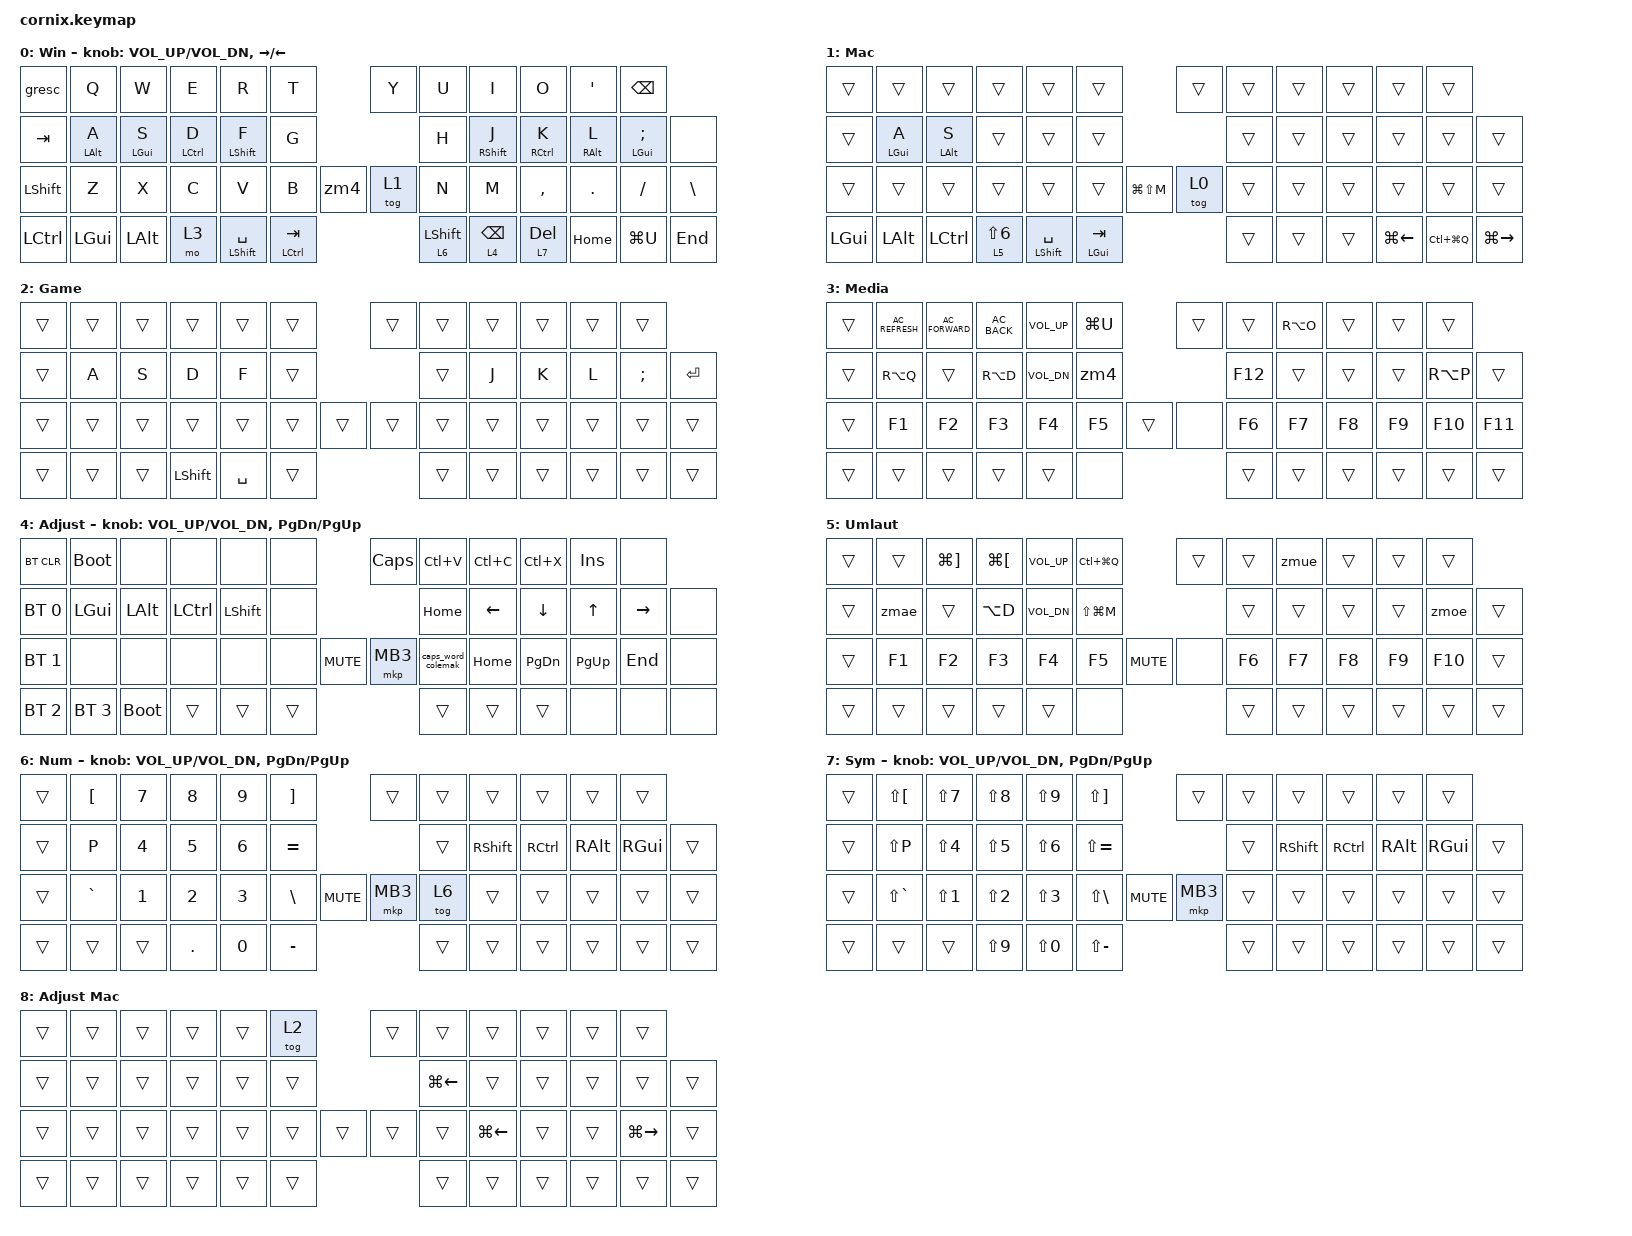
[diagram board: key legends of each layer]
/*
 * Copyright (c) 2020 The ZMK Contributors
 *
 * SPDX-License-Identifier: MIT
 */

#include "zmk-helpers/helper.h"
#include "includes/cornix54.h"
#include <behaviors.dtsi>
#include <dt-bindings/zmk/bt.h>
#include <dt-bindings/zmk/keys.h>

// tap windows for ctl alt and gui

#define HM_TAPPING_TERM 280
#define HM_TAPPING_REPEAT 210

// require-prior-idle-ms is what actually resolves most taps instantly (a
// tap right after typing normally is assumed to be a tap, not a hold) --
// per urob's own formula (require-prior-idle-ms >= 10500/WPM), 70ms only
// covers >150 WPM. 150ms covers up to ~70 WPM; raise further if still slow.
#define HM_PRIOR_IDLE 150

// Shift gets its own, much lower prior-idle: German capitalizes nouns
// mid-sentence (roughly 1 word in 4-5), so a Space->Shift press is common
// and normal, not a rushed edge case -- at 150ms that pattern kept getting
// forced to a tap (the space itself counts as "prior activity"), which
// read as "shift doesn't register, the letter fires instead". Ctrl/Alt/Gui
// don't have this problem (their holds usually follow a pause) so they
// stay on the shared HM_PRIOR_IDLE above.
#define HM_SHIFT_PRIOR_IDLE 50
#define BASE 0
#define WIN 1
#define LOWER 2
#define RAISE 3
#define ADJUST 4
#define NAVI   5
#define NUM    6
#define DEBUG  7

// https://github.com/urob/zmk-config/tree/main#timeless-homerow-mods

// Includes the LH3/RH3 "extra" bottom-row keys, the plain left-thumb
// Ctrl/Gui/Alt (positions 38-39 have no named alias, LP0=40 does), and the
// plain right-thumb Home/LG(U)/End (47-48 unaliased, RP0=49) -- chords
// involving any of these used to always resolve as a tap regardless of
// timing, since only listed positions can confirm a hold via the opposite
// hand/thumb.
#define KEYS_L LT0 LT1 LT2 LT3 LT4 LT5 LM0 LM1 LM2 LM3 LM4 LM5 LB0 LB1 LB2 LB3 LB4 LB5 LH3 38 39 LP0  // left hand
#define KEYS_R RT0 RT1 RT2 RT3 RT4 RT5 RM0 RM1 RM2 RM3 RM4 RM5 RB0 RB1 RB2 RB3 RB4 RB5 RH3 47 48 RP0  // right hand
#define THUMBS LH1 LH0 RH0 RH1
#define KEYS_T LH2 LH1 LH0 RH0 RH1 RH2
#define ZMK_POINTING_DEFAULT_SCRL_VAL 15

#include <behaviors.dtsi>
#include <dt-bindings/zmk/bt.h>
#include <dt-bindings/zmk/ext_power.h>
#include <dt-bindings/zmk/keys.h>
#include <dt-bindings/zmk/pointing.h>

/ {
    // Activate ADJUST layer by pressing raise and lower

    behaviors {
        hm_l: homerow_mods_left {
            compatible = "zmk,behavior-hold-tap";
            #binding-cells = <2>;
            bindings = <&kp>, <&kp>;

            flavor = "balanced";
            tapping-term-ms = <HM_TAPPING_TERM>;
            quick-tap-ms = <175>;                // repeat on tap-into-hold
            require-prior-idle-ms = <HM_PRIOR_IDLE>;
            hold-trigger-key-positions = <KEYS_R KEYS_T>;
            hold-trigger-on-release;
        };

        hm_r: homerow_mods_right {
            compatible = "zmk,behavior-hold-tap";
            #binding-cells = <2>;
            bindings = <&kp>, <&kp>;

            flavor = "balanced";
            tapping-term-ms = <HM_TAPPING_TERM>;
            quick-tap-ms = <175>;
            require-prior-idle-ms = <HM_PRIOR_IDLE>;
            hold-trigger-key-positions = <KEYS_L KEYS_T>;
            hold-trigger-on-release;
        };

        // Positional Homerow mods for shift.
        // (previously used a shorter "fast" tapping term than hm_l/hm_r; a
        // *shorter* term only makes shift misfire as a hold more often and
        // doesn't reduce tap latency -- require-prior-idle-ms is what does
        // that -- so this shares the same term as hm_l/hm_r. It does NOT
        // share their require-prior-idle-ms though -- see HM_SHIFT_PRIOR_IDLE
        // above for why Shift needs its own, much lower value.)

        hm_shift_l: hm_shift_l {
            compatible = "zmk,behavior-hold-tap";
            #binding-cells = <2>;
            bindings = <&kp>, <&kp>;

            flavor = "balanced";
            tapping-term-ms = <HM_TAPPING_TERM>;
            quick-tap-ms = <175>;
            require-prior-idle-ms = <HM_SHIFT_PRIOR_IDLE>;
            hold-trigger-key-positions = <KEYS_R KEYS_T>;
            hold-trigger-on-release;
        };

        hm_shift_r: hm_shift_r {
            compatible = "zmk,behavior-hold-tap";
            #binding-cells = <2>;
            bindings = <&kp>, <&kp>;

            flavor = "balanced";
            tapping-term-ms = <HM_TAPPING_TERM>;
            quick-tap-ms = <175>;
            require-prior-idle-ms = <HM_SHIFT_PRIOR_IDLE>;
            hold-trigger-key-positions = <KEYS_L KEYS_T>;

            // for quick tapping; shift+~

            hold-trigger-on-release;
        };

        /*
         * Non-Positional Homerow Mods
         * Used for &mm_grescm_gui behavior on left hand.
         *
         * Usage: &hm LSHFT T
         * Tap: T
         * Tap-Tap-Hold: Repeat T
         * Hold: LSHIFT
         */

        hm: homerow_mods {
            compatible = "zmk,behavior-hold-tap";
            #binding-cells = <2>;
            bindings = <&kp>, <&kp>;

            flavor = "balanced";
            tapping-term-ms = <HM_TAPPING_TERM>;
            quick-tap-ms = <175>;
            // this wraps SPACE/TAB on the thumb keys, so a missing
            // require-prior-idle-ms meant every space/tab was withheld
            // until release -- add it so fast typing resolves instantly.
            require-prior-idle-ms = <HM_PRIOR_IDLE>;
        };

        // Thumb Shift on the Space key (position 42, tap = Space). To
        // capitalize after a space the same key is tapped and then held
        // again right away, so:
        // - no require-prior-idle-ms: the hold comes right after the Space
        //   tap and would otherwise be forced to a tap (a second space);
        // - no quick-tap-ms: same reason, tap-then-hold must give Shift,
        //   not an auto-repeating Space;
        // - balanced, not hold-preferred: Space is rolled into the next
        //   word's first letter all the time (letter pressed before Space
        //   is released). hold-preferred would capitalize every such roll;
        //   balanced only gives Shift when the letter is released while
        //   Space is still held.
        thumb_shift: thumb_shift {
            compatible = "zmk,behavior-hold-tap";
            #binding-cells = <2>;
            bindings = <&kp>, <&kp>;

            flavor = "balanced";
            tapping-term-ms = <HM_TAPPING_TERM>;
        };

        lt: layer_tap {
            compatible = "zmk,behavior-hold-tap";
            #binding-cells = <2>;
            bindings = <&mo>, <&kp>;

            flavor = "hold-preferred";
            tapping-term-ms = <HM_TAPPING_TERM>;
            quick-tap-ms = <200>;
        };

        // Caps word for the Colemak OS layout (Mac and Windows): Colemak "o"
        // sits on HID SEMI and ";" on HID P, so stock &caps_word ended on "o"
        // and turned ";" into ":". Custom behavior from this module, see
        // src/behaviors/behavior_caps_word_ext.c.
        caps_word_colemak: caps_word_colemak {
            compatible = "zmk,behavior-caps-word-ext";
            #binding-cells = <0>;
            continue-list = <UNDERSCORE BACKSPACE DELETE>;
            shift-list = <SEMI>;
            break-list = <P>;
            // no Shift added while Ctrl/Alt/Gui are active: shortcuts stay
            // unshifted, and the Mac umlaut macros' Option+I dead key isn't
            // turned into Option+Shift+I (the vowel after it still is).
            // RALT deliberately left out: on Windows it's AltGr, and the
            // Media-layer umlauts RA(Q)/RA(P)/RA(O) need AltGr+Shift for
            // Ä/Ö/Ü. (break-list P only matches a plain P, not RA(P).)
            no-shift-mods = <(MOD_LCTL|MOD_RCTL|MOD_LALT|MOD_LGUI|MOD_RGUI)>;
            display-name = "Caps Word";
        };

        // Grave/Escape: tap for Escape, tap with Shift/Gui held for `~
        gresc: grave_escape {
            compatible = "zmk,behavior-mod-morph";
            #binding-cells = <0>;
            bindings = <&kp ESC>, <&kp GRAVE>;
            mods = <(MOD_LGUI|MOD_RGUI|MOD_LSFT|MOD_RSFT)>;
        };

        // macOS Colemak umlauts: tap for lowercase, tap with Shift held for
        // the capital. mod-morph masks the real (explicit) Shift before
        // invoking the morph branch, so the Option+<dead-key> step below
        // fires unshifted; Shift for the capital is then reapplied only to
        // the final letter as an *implicit* modifier via LS(), which the
        // masking does not touch. See zmuml below for the actual sequence.
        zmae: zm_ae {
            compatible = "zmk,behavior-mod-morph";
            #binding-cells = <0>;
            bindings = <&zmuml A>, <&zmuml LS(A)>;
            mods = <(MOD_LSFT|MOD_RSFT)>;
        };

        zmoe: zm_oe {
            compatible = "zmk,behavior-mod-morph";
            #binding-cells = <0>;
            bindings = <&zmuml SEMI>, <&zmuml LS(SEMI)>;
            mods = <(MOD_LSFT|MOD_RSFT)>;
        };

        zmue: zm_ue {
            compatible = "zmk,behavior-mod-morph";
            #binding-cells = <0>;
            bindings = <&zmuml I>, <&zmuml LS(I)>;
            mods = <(MOD_LSFT|MOD_RSFT)>;
        };
    };

    macros {
        // Option+I is macOS's diaeresis dead key *as remapped by the
        // Colemak input source* (HID I is where Colemak's "u" sits, and
        // macOS's Option-layer follows the remapped letters). Tapping a
        // vowel afterwards composes ae/oe/ue; the parameter carries which
        // vowel keycode to tap (plain for lowercase, LS(x) for capital,
        // via zmae/zmoe/zmue above).
        zmuml: zmuml {
            compatible = "zmk,behavior-macro-one-param";
            #binding-cells = <1>;
            bindings
                = <&macro_press &kp LALT>
                , <&macro_tap &kp I>
                , <&macro_release &kp LALT>
                , <&macro_param_1to1>
                , <&macro_tap &kp MACRO_PLACEHOLDER>
                ;
        };

        // ported from miryoku.vil macro M4 (M0-M3 dropped: M0 was only used by
        // now-dropped tap-dances; M1-M3 were the same Option+I umlaut pattern,
        // replaced above by zmae/zmoe/zmue so Shift produces capitals too)
        zm4: zm4 {
            compatible = "zmk,behavior-macro";
            #binding-cells = <0>;
            bindings
                = <&macro_press &kp LGUI>
                , <&macro_press &kp LALT>
                , <&macro_tap &kp N>
                , <&macro_release &kp LGUI>
                , <&macro_release &kp LALT>
                ;
        };
    };

    conditional_layers {
        compatible = "zmk,conditional-layers";

        // Adjust (layer 4) is reached identically from Base (Windows) and
        // win_layer (macOS mode), so it can't know which OS it's for. When
        // win_layer + Adjust are both active, additionally activate
        // mac_adjust_layer on top: it overrides only Home/End with the
        // macOS-correct Cmd+Left/Right (raw Home/End scroll the viewport on
        // macOS instead of moving the cursor) and is &trans everywhere else,
        // falling through to Adjust's shared bindings.
        mac_adjust {
            if-layers = <1 4>;
            then-layer = <8>;
        };
    };

    combos {
        compatible = "zmk,combos";

        cb_we {
            bindings = <&kp ESC>;
            key-positions = <2 3>;
            layers = <0 1>;
            timeout-ms = <75>;
        };

        cb_pg {
            bindings = <&kp ENTER>;
            key-positions = <4 5>;
            layers = <0 1>;
            timeout-ms = <75>;
        };

        cb_mcomma {
            bindings = <&kp ENTER>;
            key-positions = <33 34>;
            layers = <0 1>;
            timeout-ms = <75>;
        };
    };

    keymap {
        compatible = "zmk,keymap";

        // The following 8 layers are a direct port of miryoku.vil (Vial/QMK keymap for
        // this board). Vial's original 10-layer keymap is reduced to 8: the last two
        // layers (indices 8/9) were dropped per request, and their only entry points
        // (TG(8), MO(9)) become &none. QMK tap-dances are reduced to their native
        // ZMK-compatible tap+hold behavior; double-tap / double-tap-hold actions are
        // not reproduced (ZMK has no built-in equivalent). USER00/USER01/USER02/
        // USER05/USER06 (custom QMK user keycodes) have no recoverable definition in
        // the .vil file; they are best-effort-mapped to Bluetooth profile selection
        // based on their position (far-left column of the Adjust layer, matching the
        // BT_SEL pattern used elsewhere) -- verify against the original QMK
        // process_record_user() if available.

        default_layer {
            display-name = "Win";

            bindings = <
&gresc     &kp Q         &kp W         &kp E          &kp R                &kp T          &kp Y      &kp U          &kp I          &kp O         &kp SQT               &kp BSPC
&kp TAB    &hm_l LALT A  &hm_l LGUI S  &hm_l LCTRL D  &hm_shift_l LSHFT F  &kp G          &kp H      &hm_shift_r RSHFT J  &hm_r RCTRL K  &hm_r RALT L  &hm_r LGUI SEMI       &none
&kp LSHFT  &kp Z         &kp X         &kp C          &kp V                &kp B  &zm4    &tog 1     &kp N      &kp M          &kp COMMA      &kp DOT       &kp FSLH              &kp BSLH
&kp LCTRL  &kp LGUI      &kp LALT      &mo 3          &thumb_shift LSHFT SPACE  &hm LCTRL TAB  &lt 6 LSHFT  &lt 4 BSPC  &lt 7 DELETE  &kp HOME      &kp LG(U)             &kp END
            >;
            sensor-bindings = <&inc_dec_kp C_VOL_UP C_VOL_DN &inc_dec_kp RIGHT LEFT>;
        };

        win_layer {
            display-name = "Mac";

            bindings = <
&trans     &trans        &trans    &trans        &trans           &trans        &trans  &trans  &trans        &trans         &trans         &trans
&trans     &hm_l LGUI A  &hm_l LALT S  &trans    &trans           &trans        &trans  &trans  &trans        &trans         &trans         &trans
&trans     &trans        &trans    &trans        &trans           &trans  &kp LG(LS(M))  &tog 0  &trans        &trans         &trans        &trans  &trans  &trans
&kp LGUI   &kp LALT      &kp LCTRL &lt 5 LS(N6)  &thumb_shift LSHFT SPACE  &hm LGUI TAB  &trans  &trans  &trans        &kp LG(LEFT)  &kp LC(LG(Q))  &kp LG(RIGHT)
            >;
        };

        game_layer {
            // macOS-only gaming mode, toggled with Adjust + Colemak G (see
            // mac_adjust_layer). Sits directly above win_layer so every layer
            // reached by holding a thumb key (Media/Adjust/Umlaut/Num/Sym)
            // still overrides it. Home row without home-row mods, plain
            // Shift/Space on the thumbs (hold-taps there delay a tap until
            // release -- e.g. jump only on Space release), Enter on the outer
            // home-row key since the Enter combos are inactive here (combos
            // only fire when the *highest* active layer is in their list).
            display-name = "Game";

            bindings = <
&trans     &trans  &trans  &trans  &trans  &trans          &trans  &trans  &trans  &trans  &trans     &trans
&trans     &kp A   &kp S   &kp D   &kp F   &trans          &trans  &kp J   &kp K   &kp L   &kp SEMI   &kp ENTER
&trans     &trans  &trans  &trans  &trans  &trans  &trans  &trans  &trans  &trans  &trans  &trans     &trans  &trans
&trans     &trans  &trans  &kp LSHFT  &kp SPACE  &trans    &trans  &trans  &trans  &trans  &trans     &trans
            >;
        };

        media_layer {
            display-name = "Media";

            bindings = <
&trans  &kp C_AC_REFRESH  &kp C_AC_FORWARD  &kp C_AC_BACK  &kp C_VOL_UP  &kp LG(U)   &trans  &trans  &kp RA(O)  &trans  &trans  &trans
&trans  &kp RA(Q)         &trans            &kp RA(D)      &kp C_VOL_DN  &zm4        &kp F12  &trans  &trans  &trans  &kp RA(P)  &trans
&trans  &kp F1  &kp F2  &kp F3  &kp F4  &kp F5  &trans  &none  &kp F6  &kp F7  &kp F8  &kp F9  &kp F10  &kp F11
&trans  &trans  &trans  &trans  &trans  &none            &trans  &trans  &trans  &trans  &trans  &trans
            >;
        };

        adjust_layer {
            display-name = "Adjust";

            bindings = <
&bt BT_CLR    &bootloader  &none     &none     &none     &none   &kp CAPS    &kp LC(V)  &kp LC(C)  &kp LC(X)  &kp INS    &none
&bt BT_SEL 0  &kp LGUI     &kp LALT  &kp LCTRL &kp LSHFT &none   &kp HOME    &kp LEFT   &kp DOWN   &kp UP     &kp RIGHT  &none
&bt BT_SEL 1  &none  &none  &none  &none  &none  &kp C_MUTE  &mkp MB3  &caps_word_colemak  &kp HOME  &kp PG_DN  &kp PG_UP  &kp END  &none
&bt BT_SEL 2  &bt BT_SEL 3  &bootloader  &trans  &trans  &trans   &trans   &trans     &trans     &none      &none      &none
            >;
            sensor-bindings = <&inc_dec_kp C_VOL_UP C_VOL_DN &inc_dec_kp PG_DN PG_UP>;
        };

        mix_layer {
            display-name = "Umlaut";

            bindings = <
&trans  &trans  &kp LG(RBKT)  &kp LG(LBKT)  &kp C_VOL_UP  &kp LC(LG(Q))  &trans  &trans  &zmue   &trans  &trans  &trans
&trans  &zmae   &trans        &kp LA(D)     &kp C_VOL_DN  &kp LS(LG(M))  &trans  &trans  &trans  &trans  &zmoe   &trans
&trans  &kp F1  &kp F2  &kp F3  &kp F4  &kp F5  &kp C_MUTE  &none  &kp F6  &kp F7  &kp F8  &kp F9  &kp F10  &trans
&trans  &trans  &trans  &trans  &trans  &none            &trans  &trans  &trans  &trans  &trans  &trans
            >;
        };

        num_layer {
            display-name = "Num";

            bindings = <
&trans  &kp LBKT   &kp N7  &kp N8  &kp N9  &kp RBKT   &trans  &trans     &trans     &trans     &trans    &trans
&trans  &kp P      &kp N4  &kp N5  &kp N6  &kp EQUAL  &trans  &kp RSHFT  &kp RCTRL  &kp RALT   &kp RGUI  &trans
&trans  &kp GRAVE  &kp N1  &kp N2  &kp N3  &kp BSLH  &kp C_MUTE  &mkp MB3  &tog 6  &trans  &trans  &trans  &trans  &trans
&trans  &trans  &trans  &kp DOT  &kp N0  &kp MINUS        &trans  &trans  &trans  &trans  &trans  &trans
            >;
            sensor-bindings = <&inc_dec_kp C_VOL_UP C_VOL_DN &inc_dec_kp PG_DN PG_UP>;
        };


        sym_layer {
            display-name = "Sym";

            bindings = <
&trans  &kp LS(LBKT)   &kp LS(N7)  &kp LS(N8)  &kp LS(N9)  &kp LS(RBKT)   &trans  &trans     &trans     &trans     &trans    &trans
&trans  &kp LS(P)      &kp LS(N4)  &kp LS(N5)  &kp LS(N6)  &kp LS(EQUAL)  &trans  &kp RSHFT  &kp RCTRL  &kp RALT   &kp RGUI  &trans
&trans  &kp LS(GRAVE)  &kp LS(N1)  &kp LS(N2)  &kp LS(N3)  &kp LS(BSLH)  &kp C_MUTE  &mkp MB3  &trans  &trans  &trans  &trans  &trans  &trans
&trans  &trans  &trans  &kp LS(N9)  &kp LS(N0)  &kp LS(MINUS)        &trans  &trans  &trans  &trans  &trans  &trans
            >;
            sensor-bindings = <&inc_dec_kp C_VOL_UP C_VOL_DN &inc_dec_kp PG_DN PG_UP>;
        };

        mac_adjust_layer {
            // Activated automatically (see conditional_layers above) on top
            // of Adjust whenever win_layer (macOS mode) is also active.
            // Overrides Home/End with Cmd+Left/Right and adds the Game-layer
            // toggle on Colemak G (position 5); everything else is &trans
            // and falls through to Adjust.
            display-name = "Adjust Mac";

            bindings = <
&trans  &trans  &trans  &trans  &trans  &tog 2  &trans        &trans  &trans  &trans  &trans  &trans
&trans  &trans  &trans  &trans  &trans  &trans  &kp LG(LEFT)  &trans  &trans  &trans  &trans  &trans
&trans  &trans  &trans  &trans  &trans  &trans  &trans  &trans  &trans  &kp LG(LEFT)  &trans  &trans  &kp LG(RIGHT)  &trans
&trans  &trans  &trans  &trans  &trans  &trans          &trans  &trans  &trans  &trans  &trans  &trans
            >;
        };
    };
};
